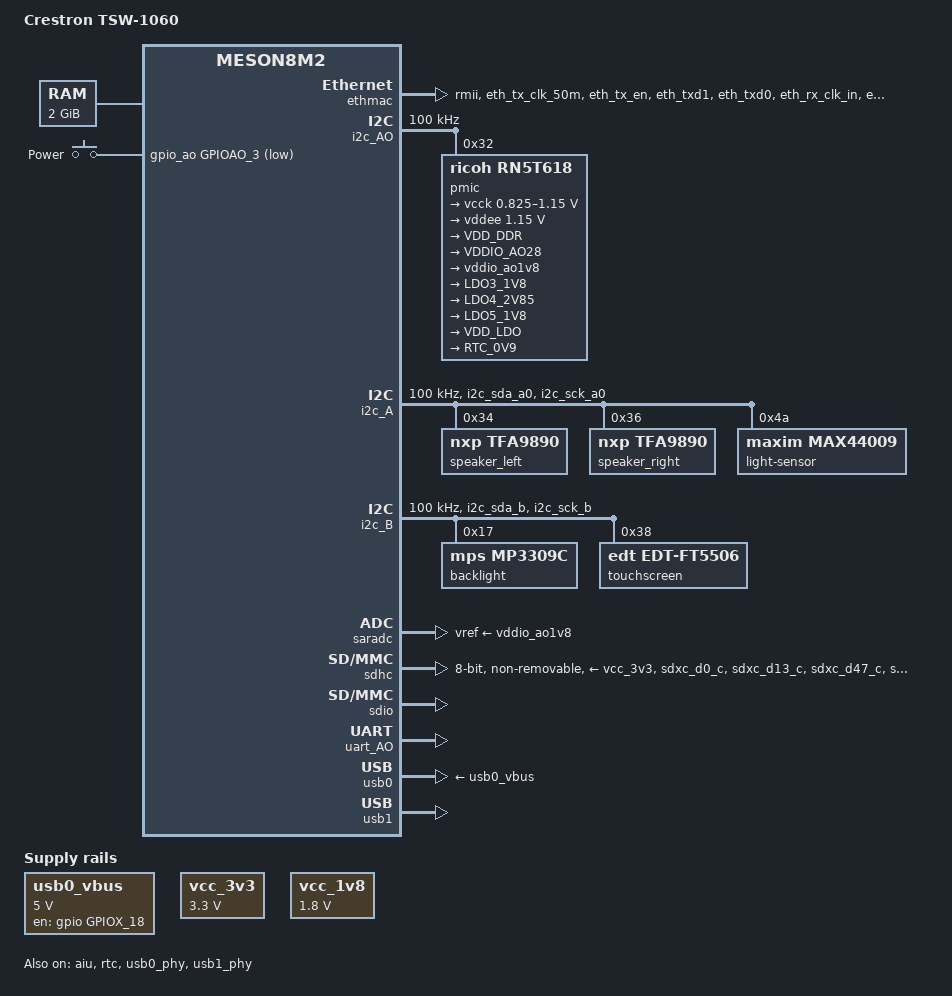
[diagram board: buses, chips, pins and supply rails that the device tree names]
// SPDX-License-Identifier: (GPL-2.0+ OR MIT)
/*
 * Crestron TSW-1060 (Jabil "yushan_one", 10") touch panel, Amlogic S812 (Meson8m2).
 *
 * Experimental mainline board file. Data taken from the vendor DTB
 * (stage2 multi-dtb, aml_dt = yushan_one_10inch), the vendor U-Boot
 * environment and measurements on a running panel.
 *
 * Display: mainline has no LVDS/VPU driver for Meson8. The vendor U-Boot
 * powers up the 1280x800 LVDS panel and scans out a 24 bpp buffer at
 * 0x07900000 (display_layer=osd2, display_bpp=24, fb_addr). We keep that
 * buffer as a simple-framebuffer; boot with clk_ignore_unused pd_ignore_unused.
 */

/dts-v1/;

#include "meson8m2.dtsi"

#include <dt-bindings/gpio/gpio.h>
#include <dt-bindings/input/input.h>
#include <dt-bindings/interrupt-controller/irq.h>
#include <dt-bindings/sound/meson-aiu.h>

/ {
	model = "Crestron TSW-1060";
	compatible = "crestron,tsw-1060", "amlogic,meson8m2";

	aliases {
		ethernet0 = &ethmac;
		i2c0 = &i2c_AO;
		i2c1 = &i2c_A;
		i2c2 = &i2c_B;
		serial0 = &uart_AO;
		mmc0 = &sd_card_slot;
		mmc1 = &sdhc;
	};

	chosen {
		#address-cells = <1>;
		#size-cells = <1>;
		ranges;
		stdout-path = "serial0:115200n8";

		/*
		 * The vendor U-Boot rewrites /memory to 0..2 GiB, but the first
		 * 2 MiB are firmware (vendor kernel: phys_offset 0x200000). This
		 * makes the zImage decompressor and the kernel start at 2 MiB.
		 */
		linux,usable-memory-range = <0x00200000 0x7fe00000>;

		framebuffer@7900000 {
			compatible = "simple-framebuffer";
			reg = <0x07900000 (1280 * 800 * 3)>;
			width = <1280>;
			height = <800>;
			stride = <(1280 * 3)>;
			format = "r8g8b8";
			status = "okay";
		};
	};

	/* 2 GiB DDR at 0 (vendor: bootm_low=0, bootm_size=0x80000000) */
	memory@0 {
		device_type = "memory";
		reg = <0x0 0x80000000>;
	};

	reserved-memory {
		#address-cells = <1>;
		#size-cells = <1>;
		ranges;

		/* vendor ramoops (ramoops.mem_address=0x04e00000) - keep untouched */
		ramoops@4e00000 {
			reg = <0x04e00000 0x100000>;
			no-map;
		};

		/* U-Boot boot logo / panel scan-out buffer (OSD2) */
		framebuffer@7900000 {
			reg = <0x07900000 0x400000>;
			no-map;
		};
	};

	usb0_vbus: regulator-usb0-vbus {
		compatible = "regulator-fixed";
		regulator-name = "USB0_VBUS";
		regulator-min-microvolt = <5000000>;
		regulator-max-microvolt = <5000000>;
		gpio = <&gpio GPIOX_18 GPIO_ACTIVE_HIGH>;
		enable-active-high;
	};

	gpio-keys-polled {
		compatible = "gpio-keys-polled";
		poll-interval = <50>;

		key-power {
			label = "Power";
			linux,code = <KEY_POWER>;
			gpios = <&gpio_ao GPIOAO_3 GPIO_ACTIVE_LOW>;
		};
	};

	/*
	 * Speaker path: AIU I2S (GPIOAO_8..11) -> Microsemi ZL38051 DSP (no
	 * mainline driver; assumed to boot its own firmware/config from its
	 * flash and pass audio through) -> 2x NXP TFA9890 (DSP bypass).
	 */
	sound {
		compatible = "amlogic,gx-sound-card";
		model = "TSW-1060";

		assigned-clocks = <&clkc CLKID_MPLL0>,
				  <&clkc CLKID_MPLL1>,
				  <&clkc CLKID_MPLL2>;
		assigned-clock-rates = <270950400>,
				       <294912000>,
				       <393216000>;

		dai-link-0 {
			sound-dai = <&aiu AIU_CPU CPU_I2S_FIFO>;
		};

		dai-link-1 {
			sound-dai = <&aiu AIU_CPU CPU_I2S_ENCODER>;
			dai-format = "i2s";
			mclk-fs = <256>;

			codec-0 {
				sound-dai = <&speaker_left>;
			};

			codec-1 {
				sound-dai = <&speaker_right>;
			};
		};
	};

	vcc_3v3: regulator-vcc3v3 {
		compatible = "regulator-fixed";
		regulator-name = "VCC3V3";
		regulator-min-microvolt = <3300000>;
		regulator-max-microvolt = <3300000>;
	};

	vcc_1v8: regulator-vcc1v8 {
		compatible = "regulator-fixed";
		regulator-name = "VCC1V8";
		regulator-min-microvolt = <1800000>;
		regulator-max-microvolt = <1800000>;
	};
};

&aiu {
	status = "okay";
	pinctrl-0 = <&i2s_am_clk_pins>, <&i2s_out_ao_clk_pins>,
		    <&i2s_out_lr_clk_pins>, <&i2s_out_ch01_ao_pins>;
	pinctrl-names = "default";
};

&cpu0 {
	cpu-supply = <&vcck>;
};

/* Android/Crestron limited the CPU to 1.608 GHz */
&cpu_opp_table {
	/delete-node/ opp-1800000000;
	/delete-node/ opp-1992000000;
};

&ethmac {
	status = "okay";

	pinctrl-0 = <&eth_rmii_tsw_pins>;
	pinctrl-names = "default";

	/* RMII, external SMSC LAN87xx PHY (id 0x0007c0f1), address probed */
	phy-mode = "rmii";

	/* no local-mac-address: the same DTB is on every panel, tsw-mac sets the address */
};

&i2c_AO {
	status = "okay";
	pinctrl-0 = <&i2c_ao_pins>;
	pinctrl-names = "default";
	clock-frequency = <100000>;

	/*
	 * Same PMIC as MXIII-Plus. Only VCCK (cpufreq) and VDD_EE (Mali) get
	 * voltage constraints; all other rails keep what U-Boot programmed
	 * (U-Boot lowers DCDC3/VDD_DDR to 1.35 V after init - do not touch it).
	 */
	pmic@32 {
		compatible = "ricoh,rn5t618";
		reg = <0x32>;
		system-power-controller;

		regulators {
			vcck: DCDC1 {
				regulator-name = "VCCK";
				regulator-min-microvolt = <825000>;
				regulator-max-microvolt = <1150000>;
				regulator-boot-on;
				regulator-always-on;
			};

			vddee: DCDC2 {
				regulator-name = "VDD_EE";
				regulator-min-microvolt = <1150000>;
				regulator-max-microvolt = <1150000>;
				regulator-boot-on;
				regulator-always-on;
			};

			DCDC3 {
				regulator-name = "VDD_DDR";
				regulator-boot-on;
				regulator-always-on;
			};

			LDO1 {
				regulator-name = "VDDIO_AO28";
				regulator-boot-on;
				regulator-always-on;
			};

			vddio_ao1v8: LDO2 {
				regulator-name = "VDDIO_AO18";
				regulator-boot-on;
				regulator-always-on;
			};

			LDO3 {
				regulator-name = "LDO3_1V8";
				regulator-boot-on;
				regulator-always-on;
			};

			LDO4 {
				regulator-name = "LDO4_2V85";
				regulator-boot-on;
				regulator-always-on;
			};

			LDO5 {
				regulator-name = "LDO5_1V8";
				regulator-boot-on;
				regulator-always-on;
			};

			LDORTC1 {
				regulator-name = "VDD_LDO";
				regulator-boot-on;
				regulator-always-on;
			};

			LDORTC2 {
				regulator-name = "RTC_0V9";
				regulator-boot-on;
				regulator-always-on;
			};
		};
	};
};

/*
 * i2c-A: 2x NXP TFA9890 speaker amplifiers (0x34 left, 0x36 right, tfa989x DSP bypass),
 * 0x45 probably ZL38051 DSP, 0x4a MAX44009 ambient light sensor, 0x0e unknown.
 */
&i2c_A {
	status = "okay";
	pinctrl-0 = <&i2c_a_tsw_pins>;
	pinctrl-names = "default";
	clock-frequency = <100000>;

	speaker_left: audio-codec@34 {
		compatible = "nxp,tfa9890";
		reg = <0x34>;
		sound-name-prefix = "Speaker Left";
		#sound-dai-cells = <0>;
	};

	speaker_right: audio-codec@36 {
		compatible = "nxp,tfa9890";
		reg = <0x36>;
		sound-name-prefix = "Speaker Right";
		#sound-dai-cells = <0>;
	};

	light-sensor@4a {
		compatible = "maxim,max44009";
		reg = <0x4a>;
	};
};

/* i2c-B: touch FT5x06 (0x38), backlight MP3309C (0x17) */
&i2c_B {
	status = "okay";
	pinctrl-0 = <&i2c_b_tsw_pins>;
	pinctrl-names = "default";
	clock-frequency = <100000>;

	/*
	 * LCD backlight: MPS MP3309C, brightness over I2C (5 bit, 0..31).
	 * U-Boot leaves level 12, reg1 = 0x28 (sync mode, OVP 35.5 V) - the
	 * same values the driver writes, so no flicker. The chip enable is
	 * driven by U-Boot through PWM_C on GPIODV_29 (PERIPHS_PIN_MUX_3 bit 25)
	 * and must be left alone: no enable-gpios here (the driver is patched
	 * to make it optional). GPIODV_28, named as backlight enable in the
	 * vendor DTB, switches the backlight OFF when driven high on this
	 * panel (tested 30.10.2026). The vendor kernel used levels 1..23 only;
	 * userspace (tsw-backlight) keeps to that range.
	 */
	backlight: backlight@17 {
		compatible = "mps,mp3309c";
		reg = <0x17>;
		default-brightness = <12>;
		mps,overvoltage-protection-microvolt = <35500000>;
	};

	touchscreen@38 {
		compatible = "edt,edt-ft5506";
		reg = <0x38>;
		interrupt-parent = <&gpio_intc>;
		interrupts = <133 IRQ_TYPE_EDGE_FALLING>;	/* GPIOX_21 */
		/*
		 * No reset-gpios: the vendor DTB names GPIODV_0 as touch reset,
		 * but on this panel the controller only answers while GPIODV_0 is
		 * left as an input (as U-Boot leaves it); driving it 0 or 1 makes
		 * 0x38 disappear (tested with gpioset, 29.10.2026).
		 */
		touchscreen-size-x = <1280>;
		touchscreen-size-y = <800>;
	};
};

&mali {
	mali-supply = <&vddee>;
};

&pinctrl_cbus {
	/*
	 * RMII pins. meson8.dtsi's eth_pins node ("ethernet") is overridden by
	 * meson8m2.dtsi with the RGMII groups (eth_txd3 = GPIOZ_0 clashes with
	 * i2c-A), so this board needs its own node.
	 */
	eth_rmii_tsw_pins: eth-rmii-tsw {
		mux {
			groups = "eth_tx_clk_50m", "eth_tx_en",
				 "eth_txd1", "eth_txd0",
				 "eth_rx_clk_in", "eth_rx_dv",
				 "eth_rxd1", "eth_rxd0", "eth_mdio",
				 "eth_mdc";
			function = "ethernet";
			bias-disable;
		};
	};

	i2c_a_tsw_pins: i2c-a-tsw {
		mux {
			groups = "i2c_sda_a0", "i2c_sck_a0";
			function = "i2c_a";
			bias-disable;
		};
	};

	i2c_b_tsw_pins: i2c-b-tsw {
		mux {
			groups = "i2c_sda_b", "i2c_sck_b";
			function = "i2c_b";
			bias-disable;
		};
	};

	sdxc_c_tsw_pins: sdxc-c-tsw {
		mux {
			groups = "sdxc_d0_c", "sdxc_d13_c", "sdxc_d47_c",
				 "sdxc_clk_c", "sdxc_cmd_c";
			function = "sdxc_c";
			bias-pull-up;
		};
	};
};

&rtc {
	status = "okay";
};

&saradc {
	status = "okay";
	vref-supply = <&vddio_ao1v8>;
};

/* eMMC Hynix H26M31001HPR 4 GB on the SDHC controller (BOOT pins) */
&sdhc {
	status = "okay";

	pinctrl-0 = <&sdxc_c_tsw_pins>;
	pinctrl-names = "default";

	bus-width = <8>;
	max-frequency = <50000000>;

	disable-wp;
	non-removable;
	cap-mmc-highspeed;
	no-sd;
	no-sdio;

	vmmc-supply = <&vcc_3v3>;
	vqmmc-supply = <&vcc_1v8>;
};

&sdio {
	status = "okay";

	pinctrl-0 = <&sd_b_pins>;
	pinctrl-names = "default";

	/* microSD: root file system lives here, so do not rely on card detect */
	sd_card_slot: slot@1 {
		compatible = "mmc-slot";
		reg = <1>;
		status = "okay";

		bus-width = <4>;
		no-sdio;
		cap-mmc-highspeed;
		cap-sd-highspeed;
		disable-wp;
		non-removable;

		vmmc-supply = <&vcc_3v3>;
	};
};

&uart_AO {
	status = "okay";
	pinctrl-0 = <&uart_ao_a_pins>;
	pinctrl-names = "default";
};

/* USB host port */
/*
 * usb0 (OTG core, used as host): the built-in UVC camera (Android used MJPEG
 * preview, ro.camera.preview.UseMJPEG=1). The vendor DTB powers this port's
 * VBUS with GPIOX_18 (usb_a: gpio-vbus-power = "GPIOX_18").
 */
&usb0 {
	status = "okay";
	vbus-supply = <&usb0_vbus>;
};

&usb0_phy {
	status = "okay";
};

&usb1 {
	status = "okay";
};

&usb1_phy {
	status = "okay";
};
